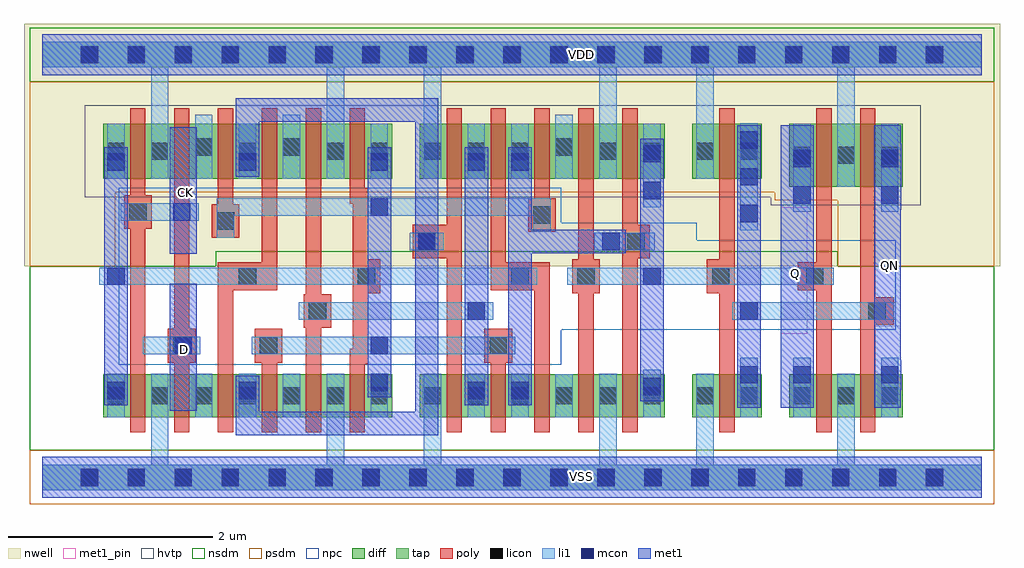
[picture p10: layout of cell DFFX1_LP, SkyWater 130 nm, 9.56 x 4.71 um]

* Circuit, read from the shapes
.subckt DFFX1_LP CK D Q QN VDD VSS
XM1 VSS CK n1 VSS sky130_fd_pr__nfet_01v8 w=0.42 l=0.15
XM2 n2 D VSS VSS sky130_fd_pr__nfet_01v8 w=0.42 l=0.15
XM3 n3 n1 n2 VSS sky130_fd_pr__nfet_01v8 w=0.42 l=0.15
XM4 n4 n5 n3 VSS sky130_fd_pr__nfet_01v8 w=0.42 l=0.15
XM5 VSS n6 n4 VSS sky130_fd_pr__nfet_01v8 w=0.42 l=0.15
XM6 n5 n1 VSS VSS sky130_fd_pr__nfet_01v8 w=0.42 l=0.15
XM7 n6 n3 VSS VSS sky130_fd_pr__nfet_01v8 w=0.42 l=0.15
XM8 n7 n5 n6 VSS sky130_fd_pr__nfet_01v8 w=0.42 l=0.15
XM9 n8 n1 n7 VSS sky130_fd_pr__nfet_01v8 w=0.42 l=0.15
XM10 VSS n9 n8 VSS sky130_fd_pr__nfet_01v8 w=0.42 l=0.15
XM11 n9 n7 VSS VSS sky130_fd_pr__nfet_01v8 w=0.42 l=0.15
XM12 n10 n9 VSS VSS sky130_fd_pr__nfet_01v8 w=0.42 l=0.15
XM13 VSS n9 Q VSS sky130_fd_pr__nfet_01v8 w=0.42 l=0.15
XM14 QN n10 VSS VSS sky130_fd_pr__nfet_01v8 w=0.42 l=0.15
XM15 VDD CK n1 VDD sky130_fd_pr__pfet_01v8_hvt w=0.54 l=0.15
XM16 n11 D VDD VDD sky130_fd_pr__pfet_01v8_hvt w=0.54 l=0.15
XM17 n3 n5 n11 VDD sky130_fd_pr__pfet_01v8_hvt w=0.54 l=0.15
XM18 n12 n1 n3 VDD sky130_fd_pr__pfet_01v8_hvt w=0.54 l=0.15
XM19 VDD n6 n12 VDD sky130_fd_pr__pfet_01v8_hvt w=0.54 l=0.15
XM20 n5 n1 VDD VDD sky130_fd_pr__pfet_01v8_hvt w=0.54 l=0.15
XM21 n6 n3 VDD VDD sky130_fd_pr__pfet_01v8_hvt w=0.54 l=0.15
XM22 n7 n1 n6 VDD sky130_fd_pr__pfet_01v8_hvt w=0.54 l=0.15
XM23 n13 n5 n7 VDD sky130_fd_pr__pfet_01v8_hvt w=0.54 l=0.15
XM24 VDD n9 n13 VDD sky130_fd_pr__pfet_01v8_hvt w=0.54 l=0.15
XM25 n9 n7 VDD VDD sky130_fd_pr__pfet_01v8_hvt w=0.54 l=0.15
XM26 n10 n9 VDD VDD sky130_fd_pr__pfet_01v8_hvt w=0.54 l=0.15
XM27 VDD n9 Q VDD sky130_fd_pr__pfet_01v8_hvt w=0.62 l=0.15
XM28 QN n10 VDD VDD sky130_fd_pr__pfet_01v8_hvt w=0.62 l=0.15
.ends

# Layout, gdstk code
from math import pi, radians
import gdstk
lib = gdstk.Library(unit=1e-6, precision=1e-09)
def R(c, l, rs):  # rectangles x0, y0, x1, y1
    for r in rs: c.add(gdstk.rectangle(r[:2], r[2:], *l))
def A(c, l, x, y, w, h, nx, ny, dx, dy):  # array of equal rectangles
    R(c, l, [(x+i*dx, y+j*dy, x+i*dx+w, y+j*dy+h) for i in range(nx) for j in range(ny)])
def P(c, l, *ps):  # polygons
    for p in ps: c.add(gdstk.Polygon(p, *l))
nwell = (64, 20)
diff = (65, 20)
tap = (65, 44)
poly = (66, 20)
licon = (66, 44)
li1 = (67, 20)
mcon = (67, 44)
met1_pin = (68, 16)
met1 = (68, 20)
hvtp = (78, 44)
nsdm = (93, 44)
psdm = (94, 20)
npc = (95, 20)

licondiff_c_cdns_7520169 = lib.new_cell('LICONDIFF_C_CDNS_752016907004')
R(licondiff_c_cdns_7520169, diff, [(-0.125,-0.145,0.125,0.145)])
R(licondiff_c_cdns_7520169, licon, [(-0.085,-0.085,0.085,0.085), (-0.085,-0.085,0.085,0.085)])

pyl1con_c_cdns_752016907 = lib.new_cell('PYL1CON_C_CDNS_752016907000')
R(pyl1con_c_cdns_752016907, poly, [(-0.135,-0.165,0.135,0.165)])
R(pyl1con_c_cdns_752016907, licon, [(-0.085,-0.085,0.085,0.085)])
R(pyl1con_c_cdns_752016907, npc, [(-0.185,-0.185,0.185,0.185)])

c_pyl1con_c_cdns_752016907 = lib.new_cell('PYL1CON_C_CDNS_7520169070012')
R(c_pyl1con_c_cdns_752016907, poly, [(-0.135,-0.29,0.135,0.29)])
R(c_pyl1con_c_cdns_752016907, licon, [(-0.085,-0.085,0.085,0.085)])
R(c_pyl1con_c_cdns_752016907, npc, [(-0.185,-0.185,0.185,0.185)])

l1m1_c_cdns_752016907001 = lib.new_cell('L1M1_C_CDNS_7520169070015')
R(l1m1_c_cdns_752016907001, li1, [(-0.085,-0.085,0.085,0.085)])
R(l1m1_c_cdns_752016907001, mcon, [(-0.085,-0.085,0.085,0.085)])
R(l1m1_c_cdns_752016907001, met1, [(-0.115,-0.145,0.115,0.145)])

c_l1m1_c_cdns_752016907001 = lib.new_cell('L1M1_C_CDNS_752016907001')
R(c_l1m1_c_cdns_752016907001, li1, [(-0.085,-0.165,0.085,0.165)])
R(c_l1m1_c_cdns_752016907001, mcon, [(-0.085,-0.085,0.085,0.085)])
R(c_l1m1_c_cdns_752016907001, met1, [(-0.115,-0.145,0.115,0.145)])

l1m1_c_cdns_752016907003 = lib.new_cell('L1M1_C_CDNS_752016907003')
R(l1m1_c_cdns_752016907003, li1, [(-0.165,-0.085,0.165,0.085)])
R(l1m1_c_cdns_752016907003, mcon, [(-0.085,-0.085,0.085,0.085)])
R(l1m1_c_cdns_752016907003, met1, [(-0.115,-0.145,0.115,0.145)])

l1m1_c_cdns_752016907005 = lib.new_cell('L1M1_C_CDNS_752016907005')
R(l1m1_c_cdns_752016907005, li1, [(-0.085,-0.525,0.085,0.525)])
A(l1m1_c_cdns_752016907005, mcon, -0.085, -0.445, 0.17, 0.17, 1, 3, 0, 0.36)
R(l1m1_c_cdns_752016907005, met1, [(-0.115,-0.505,0.115,0.505)])

l1m1_c_cdns_752016907002 = lib.new_cell('L1M1_C_CDNS_752016907002')
R(l1m1_c_cdns_752016907002, li1, [(-0.085,-0.345,0.085,0.345)])
R(l1m1_c_cdns_752016907002, mcon, [(-0.085,-0.265,0.085,-0.095), (-0.085,0.095,0.085,0.265)])
R(l1m1_c_cdns_752016907002, met1, [(-0.115,-0.325,0.115,0.325)])

dffx1_lp = lib.new_cell('DFFX1_LP')
R(dffx1_lp, nwell, [(-0.18,2.07,9.38,4.445)])
R(dffx1_lp, diff, [(0.595,0.59,3.425,1.01), (3.695,0.59,6.095,1.01), (6.365,0.59,7.045,1.01), (7.315,0.59,8.425,1.01), (7.315,2.845,8.425,3.465), (0.595,2.925,3.425,3.465), (3.695,2.925,6.095,3.465), (6.365,2.925,7.045,3.465)])
A(dffx1_lp, poly, 5.68, 0.44, 0.15, 3.175, 3, 1, 0.95, 0)
R(dffx1_lp, poly, [(0.86,0.44,1.01,3.615), (1.29,0.44,1.44,3.615), (2.15,0.44,2.3,1.16), (2.58,0.44,2.73,3.615), (4.39,0.44,4.54,1.16), (5.25,0.44,5.4,3.615), (8.01,0.44,8.16,3.615), (4.82,2.435,4.97,3.615), (1.72,2.51,1.87,3.615)])
P(dffx1_lp, poly, [(2.3,3.615),(2.15,3.615),(2.15,2.045),(1.72,2.045),(1.72,0.44),(1.87,0.44),(1.87,1.895),(2.3,1.895)],
  [(3.19,2.83),(3.16,2.83),(3.16,3.615),(3.01,3.615),(3.01,2.68),(3.04,2.68),(3.04,1.26),(3.01,1.26),(3.01,0.44),(3.16,0.44),(3.16,1.11),(3.19,1.11)],
  [(4.11,3.615),(3.96,3.615),(3.96,2.475),(3.63,2.475),(3.63,2.145),(3.96,2.145),(3.96,0.44),(4.11,0.44)],
  [(4.97,2.045),(4.54,2.045),(4.54,3.615),(4.39,3.615),(4.39,1.895),(4.82,1.895),(4.82,0.44),(4.97,0.44)])
A(dffx1_lp, licon, 0.375, -0.085, 0.17, 0.17, 19, 2, 0.46, 4.14)
A(dffx1_lp, licon, 1.065, 0.715, 0.17, 0.17, 3, 2, 0.86, 2.395)
A(dffx1_lp, licon, 3.735, 0.715, 0.17, 0.17, 6, 1, 0.43, 0)
A(dffx1_lp, licon, 7.355, 0.715, 0.17, 0.17, 3, 2, 0.43, 2.355)
A(dffx1_lp, licon, 3.735, 3.11, 0.17, 0.17, 3, 1, 0.43, 0)
R(dffx1_lp, licon, [(0.635,0.715,0.805,0.885), (3.215,0.715,3.385,0.885), (6.405,0.715,6.575,0.885), (6.835,0.715,7.005,0.885), (0.635,3.11,0.805,3.28), (3.215,3.11,3.385,3.28), (5.455,3.11,5.625,3.28), (5.885,3.11,6.055,3.28), (6.405,3.11,6.575,3.28), (6.835,3.11,7.005,3.28)])
A(dffx1_lp, li1, 0.635, 0.59, 0.17, 0.42, 3, 1, 1.29, 0)
A(dffx1_lp, li1, 4.165, 0.59, 0.17, 0.42, 3, 1, 0.43, 0)
A(dffx1_lp, li1, 0.635, 2.925, 0.17, 0.54, 3, 1, 1.29, 0)
R(dffx1_lp, li1, [(5.885,0.59,6.055,1.01), (6.835,0.59,7.005,1.01), (7.355,0.59,7.525,1.01), (8.215,0.59,8.385,1.01), (7.355,2.845,7.525,3.465), (8.215,2.845,8.385,3.465), (4.165,2.925,4.335,3.465), (4.595,2.925,4.765,3.465), (5.885,2.925,6.055,3.465), (6.835,2.925,7.005,3.465)])
P(dffx1_lp, li1, [(4.98,2.735),(1.71,2.735),(1.71,2.345),(1.88,2.345),(1.88,2.565),(4.81,2.565),(4.81,2.405),(4.98,2.405)],
  [(9.2,4.265),(0,4.265),(0,4.015),(1.065,4.015),(1.065,2.925),(1.235,2.925),(1.235,4.015),(2.785,4.015),(2.785,2.925),(2.955,2.925),(2.955,4.015),(3.735,4.015),(3.735,2.925),(3.905,2.925),(3.905,4.015),(5.455,4.015),(5.455,2.925),(5.625,2.925),(5.625,4.015),(6.405,4.015),(6.405,2.925),(6.575,2.925),(6.575,4.015),(7.785,4.015),(7.785,2.845),(7.955,2.845),(7.955,4.015),(9.2,4.015)],
  [(9.2,0.125),(7.955,0.125),(7.955,1.015),(7.785,1.015),(7.785,0.125),(6.575,0.125),(6.575,1.015),(6.405,1.015),(6.405,0.125),(5.625,0.125),(5.625,1.015),(5.455,1.015),(5.455,0.125),(3.905,0.125),(3.905,1.015),(3.735,1.015),(3.735,0.125),(2.955,0.125),(2.955,1.015),(2.785,1.015),(2.785,0.125),(1.235,0.125),(1.235,1.015),(1.065,1.015),(1.065,0.125),(0,0.125),(0,-0.125),(9.2,-0.125)])
A(dffx1_lp, mcon, 0.375, -0.085, 0.17, 0.17, 19, 2, 0.46, 4.14)
R(dffx1_lp, met1_pin, [(1.25,0.655,1.51,1.895), (7.23,1.405,7.49,2.645), (8.15,1.48,8.41,2.72), (1.25,2.19,1.51,3.43)])
R(dffx1_lp, met1, [(7.23,0.68,7.555,3.45)])
P(dffx1_lp, met1, [(5.57,2.425),(4.795,2.425),(4.795,3.235),(4.565,3.235),(4.565,0.705),(4.795,0.705),(4.795,2.195),(5.57,2.195)])
P(dffx1_lp, hvtp, [(8.605,3.645),(0.415,3.645),(0.415,2.745),(7.135,2.745),(7.135,2.665),(8.605,2.665)])
R(dffx1_lp, nsdm, [(-0.125,3.875,9.325,4.405)])
P(dffx1_lp, nsdm, [(9.325,2.07),(7.79,2.07),(7.79,2.215),(1.7,2.215),(1.7,2.07),(-0.125,2.07),(-0.125,0.265),(9.325,0.265)])
R(dffx1_lp, psdm, [(-0.125,-0.265,9.325,0.265)])
P(dffx1_lp, psdm, [(9.325,3.875),(-0.125,3.875),(-0.125,2.07),(0.715,2.07),(0.715,2.795),(7.175,2.795),(7.175,2.715),(7.79,2.715),(7.79,2.07),(9.325,2.07)])
P(dffx1_lp, npc, [(8.36,2.325),(6.41,2.325),(6.41,2.495),(5.08,2.495),(5.08,2.835),(0.75,2.835),(0.75,1.105),(5.08,1.105),(5.08,1.445),(8.36,1.445)])
dffx1_lp.add(gdstk.FlexPath([(1.58,0.59),(1.58,1.015)], 0.17, ends="flush", simple_path=True, layer=67, datatype=20))  # li1
dffx1_lp.add(gdstk.FlexPath([(1.58,2.925),(1.58,3.55)], 0.17, ends="flush", simple_path=True, layer=67, datatype=20))  # li1
dffx1_lp.add(gdstk.FlexPath([(4.415,1.63),(2.51,1.63)], 0.17, ends="flush", simple_path=True, layer=67, datatype=20))  # li1
dffx1_lp.add(gdstk.FlexPath([(2.05,1.29),(4.63,1.29)], 0.17, ends="flush", simple_path=True, layer=67, datatype=20))  # li1
dffx1_lp.add(gdstk.FlexPath([(0.555,1.97),(4.845,1.97)], 0.17, ends="flush", simple_path=True, layer=67, datatype=20))  # li1
dffx1_lp.add(gdstk.FlexPath([(2.44,0.59),(2.44,1.015)], 0.17, ends="flush", simple_path=True, layer=67, datatype=20))  # li1
dffx1_lp.add(gdstk.FlexPath([(5.11,2.925),(5.11,3.55)], 0.17, ends="flush", simple_path=True, layer=67, datatype=20))  # li1
dffx1_lp.add(gdstk.FlexPath([(0.985,1.29),(1.53,1.29)], 0.17, ends="flush", simple_path=True, layer=67, datatype=20))  # li1
dffx1_lp.add(gdstk.FlexPath([(0.77,2.6),(1.315,2.6)], 0.17, ends="flush", simple_path=True, layer=67, datatype=20))  # li1
dffx1_lp.add(gdstk.FlexPath([(5.14,1.97),(7.75,1.97)], 0.17, ends="flush", simple_path=True, layer=67, datatype=20))  # li1
dffx1_lp.add(gdstk.FlexPath([(2.44,2.925),(2.44,3.55)], 0.17, ends="flush", simple_path=True, layer=67, datatype=20))  # li1
dffx1_lp.add(gdstk.FlexPath([(5.435,2.31),(6,2.31)], 0.17, ends="flush", simple_path=True, layer=67, datatype=20))  # li1
dffx1_lp.add(gdstk.FlexPath([(6.755,1.63),(8.36,1.63)], 0.17, ends="flush", simple_path=True, layer=67, datatype=20))  # li1
dffx1_lp.add(gdstk.FlexPath([(0,4.14),(9.2,4.14)], 0.25, ends="flush", simple_path=True, layer=65, datatype=44))  # tap
dffx1_lp.add(gdstk.FlexPath([(0,0),(9.2,0)], 0.25, ends="flush", simple_path=True, layer=65, datatype=44))  # tap
dffx1_lp.add(gdstk.FlexPath([(0,4.14),(9.2,4.14)], 0.4, ends="flush", simple_path=True, layer=68, datatype=20))  # met1
dffx1_lp.add(gdstk.FlexPath([(0,0),(9.2,0)], 0.4, ends="flush", simple_path=True, layer=68, datatype=20))  # met1
dffx1_lp.add(gdstk.FlexPath([(2.01,0.85),(2.01,0.53),(3.765,0.53),(3.765,3.6),(2.01,3.6),(2.01,3.09)], 0.23, ends="flush", simple_path=True, layer=68, datatype=20))  # met1
dffx1_lp.add(gdstk.FlexPath([(3.3,0.785),(3.3,3.235)], 0.23, ends="flush", simple_path=True, layer=68, datatype=20))  # met1
dffx1_lp.add(gdstk.FlexPath([(4.25,0.705),(4.25,3.235)], 0.23, ends="flush", simple_path=True, layer=68, datatype=20))  # met1
dffx1_lp.add(gdstk.FlexPath([(1.38,0.655),(1.38,1.895)], 0.26, ends="flush", simple_path=True, layer=68, datatype=20))  # met1
dffx1_lp.add(gdstk.FlexPath([(0.72,0.705),(0.72,3.235)], 0.23, ends="flush", simple_path=True, layer=68, datatype=20))  # met1
dffx1_lp.add(gdstk.FlexPath([(5.97,0.745),(5.97,3.315)], 0.23, ends="flush", simple_path=True, layer=68, datatype=20))  # met1
dffx1_lp.add(gdstk.FlexPath([(1.38,2.19),(1.38,3.43)], 0.26, ends="flush", simple_path=True, layer=68, datatype=20))  # met1
dffx1_lp.add(gdstk.FlexPath([(8.28,0.68),(8.28,3.45)], 0.26, ends="flush", simple_path=True, layer=68, datatype=20))  # met1
dffx1_lp.add(gdstk.FlexPath([(6.92,0.68),(6.92,3.45)], 0.23, ends="flush", simple_path=True, layer=68, datatype=20))  # met1
dffx1_lp.add(gdstk.FlexPath([(0,4.14),(9.2,4.14)], 0.4, ends="flush", simple_path=True, layer=68, datatype=16))  # met1_pin
dffx1_lp.add(gdstk.FlexPath([(0,0),(9.2,0)], 0.4, ends="flush", simple_path=True, layer=68, datatype=16))  # met1_pin
dffx1_lp.add(gdstk.Reference(licondiff_c_cdns_7520169, (5.11,3.235)))
dffx1_lp.add(gdstk.Reference(licondiff_c_cdns_7520169, (2.44,3.235)))
dffx1_lp.add(gdstk.Reference(licondiff_c_cdns_7520169, (1.58,3.235)))
dffx1_lp.add(gdstk.Reference(licondiff_c_cdns_7520169, (2.44,0.8)))
dffx1_lp.add(gdstk.Reference(licondiff_c_cdns_7520169, (1.58,0.8)))
dffx1_lp.add(gdstk.Reference(pyl1con_c_cdns_752016907, (6.645,1.97), x_reflection=True))
dffx1_lp.add(gdstk.Reference(pyl1con_c_cdns_752016907, (5.325,1.97), x_reflection=True))
dffx1_lp.add(gdstk.Reference(pyl1con_c_cdns_752016907, (5.815,2.31), rotation=pi, x_reflection=True))
dffx1_lp.add(gdstk.Reference(pyl1con_c_cdns_752016907, (3.175,1.97)))
dffx1_lp.add(gdstk.Reference(pyl1con_c_cdns_752016907, (2.215,1.29), x_reflection=True))
dffx1_lp.add(gdstk.Reference(pyl1con_c_cdns_752016907, (8.175,1.63), rotation=pi/2, x_reflection=True))
dffx1_lp.add(gdstk.Reference(pyl1con_c_cdns_752016907, (4.895,2.57), rotation=pi))
dffx1_lp.add(gdstk.Reference(pyl1con_c_cdns_752016907, (7.565,1.97), rotation=pi/2, x_reflection=True))
dffx1_lp.add(gdstk.Reference(pyl1con_c_cdns_752016907, (1.795,2.51), rotation=pi))
dffx1_lp.add(gdstk.Reference(pyl1con_c_cdns_752016907, (1.365,1.29), x_reflection=True))
dffx1_lp.add(gdstk.Reference(pyl1con_c_cdns_752016907, (4.465,1.29), x_reflection=True))
dffx1_lp.add(gdstk.Reference(pyl1con_c_cdns_752016907, (0.935,2.6), rotation=pi))
dffx1_lp.add(gdstk.Reference(pyl1con_c_cdns_752016907, (3.765,2.31), x_reflection=True))
dffx1_lp.add(gdstk.Reference(pyl1con_c_cdns_752016907, (2.695,1.63), rotation=pi))
dffx1_lp.add(gdstk.Reference(c_pyl1con_c_cdns_752016907, (2.01,1.97), rotation=pi/2, x_reflection=True))
dffx1_lp.add(gdstk.Reference(c_pyl1con_c_cdns_752016907, (4.68,1.97), rotation=pi/2))
dffx1_lp.add(gdstk.Reference(l1m1_c_cdns_752016907001, (3.3,0.93), rotation=pi, x_reflection=True))
dffx1_lp.add(gdstk.Reference(c_l1m1_c_cdns_752016907001, (2.01,3.09), rotation=pi, x_reflection=True))
dffx1_lp.add(gdstk.Reference(c_l1m1_c_cdns_752016907001, (2.01,0.85), rotation=pi, x_reflection=True))
dffx1_lp.add(gdstk.Reference(c_l1m1_c_cdns_752016907001, (4.25,0.85), rotation=pi, x_reflection=True))
dffx1_lp.add(gdstk.Reference(c_l1m1_c_cdns_752016907001, (4.25,3.09), rotation=pi, x_reflection=True))
dffx1_lp.add(gdstk.Reference(c_l1m1_c_cdns_752016907001, (4.68,0.85), rotation=pi, x_reflection=True))
dffx1_lp.add(gdstk.Reference(c_l1m1_c_cdns_752016907001, (4.68,3.09), rotation=pi, x_reflection=True))
dffx1_lp.add(gdstk.Reference(c_l1m1_c_cdns_752016907001, (0.72,0.85), rotation=pi, x_reflection=True))
dffx1_lp.add(gdstk.Reference(c_l1m1_c_cdns_752016907001, (0.72,3.09), rotation=pi, x_reflection=True))
dffx1_lp.add(gdstk.Reference(c_l1m1_c_cdns_752016907001, (5.97,0.89), rotation=pi, x_reflection=True))
dffx1_lp.add(gdstk.Reference(c_l1m1_c_cdns_752016907001, (7.44,1.005)))
dffx1_lp.add(gdstk.Reference(c_l1m1_c_cdns_752016907001, (8.3,1.005)))
dffx1_lp.add(gdstk.Reference(c_l1m1_c_cdns_752016907001, (6.92,1.005)))
dffx1_lp.add(gdstk.Reference(c_l1m1_c_cdns_752016907001, (5.57,2.31), rotation=3*pi/2))
dffx1_lp.add(gdstk.Reference(c_l1m1_c_cdns_752016907001, (3.3,3.09), rotation=pi, x_reflection=True))
dffx1_lp.add(gdstk.Reference(l1m1_c_cdns_752016907003, (3.3,2.65)))
dffx1_lp.add(gdstk.Reference(l1m1_c_cdns_752016907003, (4.25,1.63)))
dffx1_lp.add(gdstk.Reference(l1m1_c_cdns_752016907003, (1.38,1.29), x_reflection=True))
dffx1_lp.add(gdstk.Reference(l1m1_c_cdns_752016907003, (3.3,1.29)))
dffx1_lp.add(gdstk.Reference(l1m1_c_cdns_752016907003, (1.365,2.6), x_reflection=True))
dffx1_lp.add(gdstk.Reference(l1m1_c_cdns_752016907003, (0.72,1.97), rotation=pi, x_reflection=True))
dffx1_lp.add(gdstk.Reference(l1m1_c_cdns_752016907003, (3.765,2.31)))
dffx1_lp.add(gdstk.Reference(l1m1_c_cdns_752016907003, (6.92,1.63), x_reflection=True))
dffx1_lp.add(gdstk.Reference(l1m1_c_cdns_752016907003, (5.97,1.97), rotation=pi, x_reflection=True))
dffx1_lp.add(gdstk.Reference(l1m1_c_cdns_752016907005, (6.92,2.945)))
dffx1_lp.add(gdstk.Reference(l1m1_c_cdns_752016907002, (5.97,2.99), rotation=pi, x_reflection=True))
dffx1_lp.add(gdstk.Reference(l1m1_c_cdns_752016907002, (7.44,2.945)))
dffx1_lp.add(gdstk.Reference(l1m1_c_cdns_752016907002, (8.3,2.945)))
dffx1_lp.add(gdstk.Label('VDD', (5.285,4.145), layer=68, texttype=5))
dffx1_lp.add(gdstk.Label('CK', (1.405,2.795), layer=68, texttype=5))
dffx1_lp.add(gdstk.Label('Q', (7.375,2), layer=68, texttype=5))
dffx1_lp.add(gdstk.Label('QN', (8.295,2.075), layer=68, texttype=5))
dffx1_lp.add(gdstk.Label('VSS', (5.285,0.005), layer=68, texttype=5))
dffx1_lp.add(gdstk.Label('D', (1.395,1.25), layer=68, texttype=5))

lib.write_gds('DFFX1_LP.gds')
